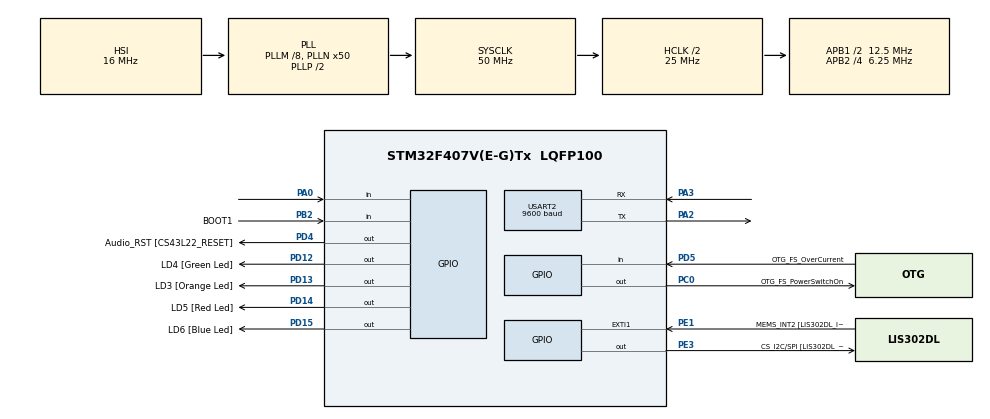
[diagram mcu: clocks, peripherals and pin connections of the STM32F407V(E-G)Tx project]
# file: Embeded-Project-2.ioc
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Mcu.Family=STM32F4
Mcu.Name=STM32F407V(E-G)Tx
Mcu.Package=LQFP100
NVIC.PriorityGroup=NVIC_PRIORITYGROUP_0
NVIC.TIM6_DAC_IRQn=true\:0\:0\:false\:false\:true\:true
NVIC.USART2_IRQn=true\:0\:0\:false\:false\:true\:true
PA0-WKUP.Signal=GPIO_Input
PA10.GPIO_Label=OTG_FS_ID
PA10.GPIO_Mode=GPIO_MODE_AF_PP
PA10.GPIO_PuPd=GPIO_NOPULL
PA10.GPIO_Speed=GPIO_SPEED_FREQ_LOW
PA10.Signal=USB_OTG_FS_ID
PA11.GPIO_Label=OTG_FS_DM
PA11.GPIO_Mode=GPIO_MODE_AF_PP
PA11.GPIO_PuPd=GPIO_NOPULL
PA11.GPIO_Speed=GPIO_SPEED_FREQ_LOW
PA11.Signal=USB_OTG_FS_DM
PA12.GPIO_Label=OTG_FS_DP
PA12.GPIO_Mode=GPIO_MODE_AF_PP
PA12.GPIO_PuPd=GPIO_NOPULL
PA12.GPIO_Speed=GPIO_SPEED_FREQ_LOW
PA12.Signal=USB_OTG_FS_DP
PA13.GPIO_Label=SWDIO
PA13.Signal=SYS_JTMS-SWDIO
PA14.GPIO_Label=SWCLK
PA14.Signal=SYS_JTCK-SWCLK
PA2.Mode=Asynchronous
PA2.Signal=USART2_TX
PA3.Mode=Asynchronous
PA3.Signal=USART2_RX
PA4.GPIO_Label=I2S3_WS [CS43L22_LRCK]
PA4.GPIO_Mode=GPIO_MODE_AF_PP
PA4.GPIO_PuPd=GPIO_NOPULL
PA4.GPIO_Speed=GPIO_SPEED_FREQ_LOW
PA4.Signal=I2S3_WS
PA5.GPIO_Label=SPI1_SCK [LIS302DL_SCL/SPC]
PA5.GPIO_Mode=GPIO_MODE_AF_PP
PA5.GPIO_PuPd=GPIO_NOPULL
PA5.GPIO_Speed=GPIO_SPEED_FREQ_LOW
PA5.Signal=SPI1_SCK
PA6.GPIO_Label=SPI1_MISO [LIS302DL_SDO]
PA6.GPIO_Mode=GPIO_MODE_AF_PP
PA6.GPIO_PuPd=GPIO_NOPULL
PA6.GPIO_Speed=GPIO_SPEED_FREQ_LOW
PA6.Signal=SPI1_MISO
PA7.GPIO_Label=SPI1_MOSI [LIS302DL_SDA/SDI/SDO]
PA7.GPIO_Mode=GPIO_MODE_AF_PP
PA7.GPIO_PuPd=GPIO_NOPULL
PA7.GPIO_Speed=GPIO_SPEED_FREQ_LOW
PA7.Signal=SPI1_MOSI
PA9.GPIO_Label=VBUS_FS
PA9.GPIO_Mode=GPIO_MODE_INPUT
PA9.GPIO_PuPd=GPIO_NOPULL
PA9.Signal=USB_OTG_FS_VBUS
PB10.GPIO_Label=CLK_IN [MP45DT02_CLK]
PB10.GPIO_Mode=GPIO_MODE_AF_PP
PB10.GPIO_PuPd=GPIO_NOPULL
PB10.GPIO_Speed=GPIO_SPEED_FREQ_LOW
PB10.Signal=I2S2_CK
PB2.GPIO_Label=BOOT1
PB2.GPIO_Mode=GPIO_MODE_INPUT
PB2.GPIO_PuPd=GPIO_NOPULL
PB2.Signal=GPIO_Input
PB3.GPIO_Label=SWO
PB3.Signal=SYS_JTDO-SWO
PB6.GPIO_Label=Audio_SCL [CS43L22_SCL]
PB6.GPIO_Mode=GPIO_MODE_AF_OD
PB6.GPIO_PuPd=GPIO_NOPULL
PB6.GPIO_Speed=GPIO_SPEED_FREQ_LOW
PB6.Signal=I2C1_SCL
PB9.GPIO_Label=Audio_SDA [CS43L22_SDA]
PB9.GPIO_Mode=GPIO_MODE_AF_OD
PB9.GPIO_PuPd=GPIO_NOPULL
PB9.GPIO_Speed=GPIO_SPEED_FREQ_LOW
PB9.Signal=I2C1_SDA
PC0.GPIO_Label=OTG_FS_PowerSwitchOn
PC0.GPIO_PuPd=GPIO_NOPULL
PC0.GPIO_Speed=GPIO_SPEED_FREQ_LOW
PC0.PinState=GPIO_PIN_SET
PC0.Signal=GPIO_Output
PC10.GPIO_Label=I2S3_SCK [CS43L22_SCLK]
PC10.GPIO_Mode=GPIO_MODE_AF_PP
PC10.GPIO_PuPd=GPIO_NOPULL
PC10.GPIO_Speed=GPIO_SPEED_FREQ_LOW
PC10.Signal=I2S3_CK
PC12.GPIO_Label=I2S3_SD [CS43L22_SDIN]
PC12.GPIO_Mode=GPIO_MODE_AF_PP
PC12.GPIO_PuPd=GPIO_NOPULL
PC12.GPIO_Speed=GPIO_SPEED_FREQ_LOW
PC12.Signal=I2S3_SD
PC14-OSC32_IN.GPIO_Label=PC14-OSC32_IN
PC14-OSC32_IN.Signal=RCC_OSC32_IN
PC15-OSC32_OUT.GPIO_Label=PC15-OSC32_OUT
PC15-OSC32_OUT.Signal=RCC_OSC32_OUT
PC3.GPIO_Label=PDM_OUT [MP45DT02_DOUT]
PC3.GPIO_Mode=GPIO_MODE_AF_PP
PC3.GPIO_PuPd=GPIO_NOPULL
PC3.GPIO_Speed=GPIO_SPEED_FREQ_LOW
PC3.Signal=I2S2_SD
PC7.GPIO_Label=I2S3_MCK [CS43L22_MCLK]
PC7.GPIO_Mode=GPIO_MODE_AF_PP
PC7.GPIO_PuPd=GPIO_NOPULL
PC7.GPIO_Speed=GPIO_SPEED_FREQ_LOW
PC7.Signal=I2S3_MCK
PD12.GPIO_Label=LD4 [Green Led]
PD12.GPIO_PuPd=GPIO_NOPULL
PD12.GPIO_Speed=GPIO_SPEED_FREQ_LOW
PD12.Signal=GPIO_Output
PD13.GPIO_Label=LD3 [Orange Led]
PD13.GPIO_PuPd=GPIO_NOPULL
PD13.GPIO_Speed=GPIO_SPEED_FREQ_LOW
PD13.Signal=GPIO_Output
PD14.GPIO_Label=LD5 [Red Led]
PD14.GPIO_PuPd=GPIO_NOPULL
PD14.GPIO_Speed=GPIO_SPEED_FREQ_LOW
PD14.Signal=GPIO_Output
PD15.GPIO_Label=LD6 [Blue Led]
PD15.GPIO_PuPd=GPIO_NOPULL
PD15.GPIO_Speed=GPIO_SPEED_FREQ_LOW
PD15.Signal=GPIO_Output
PD4.GPIO_Label=Audio_RST [CS43L22_RESET]
PD4.GPIO_PuPd=GPIO_NOPULL
PD4.GPIO_Speed=GPIO_SPEED_FREQ_LOW
PD4.Signal=GPIO_Output
PD5.GPIO_Label=OTG_FS_OverCurrent
PD5.GPIO_Mode=GPIO_MODE_INPUT
PD5.GPIO_PuPd=GPIO_NOPULL
PD5.Signal=GPIO_Input
PE1.GPIO_Label=MEMS_INT2 [LIS302DL_INT2]
PE1.GPIO_ModeDefaultEXTI=GPIO_MODE_EVT_RISING
PE1.GPIO_PuPd=GPIO_NOPULL
PE1.Signal=GPXTI1
PE3.GPIO_Label=CS_I2C/SPI [LIS302DL_CS_I2C/SPI]
PE3.GPIO_PuPd=GPIO_NOPULL
PE3.GPIO_Speed=GPIO_SPEED_FREQ_LOW
PE3.Signal=GPIO_Output
PH0-OSC_IN.GPIO_Label=PH0-OSC_IN
PH0-OSC_IN.Signal=RCC_OSC_IN
PH1-OSC_OUT.GPIO_Label=PH1-OSC_OUT
PH1-OSC_OUT.Signal=RCC_OSC_OUT
ProjectManager.HeapSize=0x200
ProjectManager.StackSize=0x400
ProjectManager.TargetToolchain=SW4STM32
RCC.48MHZClocksFreq_Value=14285714.285714285
RCC.AHBCLKDivider=RCC_SYSCLK_DIV2
RCC.AHBFreq_Value=25000000
RCC.APB1CLKDivider=RCC_HCLK_DIV2
RCC.APB1Freq_Value=12500000
RCC.APB1TimFreq_Value=25000000
RCC.APB2CLKDivider=RCC_HCLK_DIV4
RCC.APB2Freq_Value=6250000
RCC.APB2TimFreq_Value=12500000
RCC.CortexFreq_Value=25000000
RCC.HCLKFreq_Value=25000000
RCC.HSE_VALUE=8000000
RCC.HSI_VALUE=16000000
RCC.LSE_VALUE=32768
RCC.PLLM=8
RCC.PLLN=50
RCC.PLLQ=7
RCC.SYSCLKFreq_VALUE=50000000
RCC.SYSCLKSource=RCC_SYSCLKSOURCE_PLLCLK
RCC.VCOOutputFreq_Value=100000000
TIM6.Period=24999
TIM6.Prescaler=999
USART2.BaudRate=9600
USART2.VirtualMode=VM_ASYNC
VP_TIM6_VS_ClockSourceINT.Mode=Enable_Timer
board=STM32F4DISCOVERY

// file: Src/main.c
/**
  ******************************************************************************
  * @file           : main.c
  * @brief          : Main program body
  ******************************************************************************
  ** This notice applies to any and all portions of this file
  * that are not between comment pairs USER CODE BEGIN and
  * USER CODE END. Other portions of this file, whether
  * inserted by the user or by software development tools
  * are owned by their respective copyright owners.
  *
  * COPYRIGHT(c) 2018 STMicroelectronics
  *
  * Redistribution and use in source and binary forms, with or without modification,
  * are permitted provided that the following conditions are met:
  *   1. Redistributions of source code must retain the above copyright notice,
  *      this list of conditions and the following disclaimer.
  *   2. Redistributions in binary form must reproduce the above copyright notice,
  *      this list of conditions and the following disclaimer in the documentation
  *      and/or other materials provided with the distribution.
  *   3. Neither the name of STMicroelectronics nor the names of its contributors
  *      may be used to endorse or promote products derived from this software
  *      without specific prior written permission.
  *
  * THIS SOFTWARE IS PROVIDED BY THE COPYRIGHT HOLDERS AND CONTRIBUTORS "AS IS"
  * AND ANY EXPRESS OR IMPLIED WARRANTIES, INCLUDING, BUT NOT LIMITED TO, THE
  * IMPLIED WARRANTIES OF MERCHANTABILITY AND FITNESS FOR A PARTICULAR PURPOSE ARE
  * DISCLAIMED. IN NO EVENT SHALL THE COPYRIGHT HOLDER OR CONTRIBUTORS BE LIABLE
  * FOR ANY DIRECT, INDIRECT, INCIDENTAL, SPECIAL, EXEMPLARY, OR CONSEQUENTIAL
  * DAMAGES (INCLUDING, BUT NOT LIMITED TO, PROCUREMENT OF SUBSTITUTE GOODS OR
  * SERVICES; LOSS OF USE, DATA, OR PROFITS; OR BUSINESS INTERRUPTION) HOWEVER
  * CAUSED AND ON ANY THEORY OF LIABILITY, WHETHER IN CONTRACT, STRICT LIABILITY,
  * OR TORT (INCLUDING NEGLIGENCE OR OTHERWISE) ARISING IN ANY WAY OUT OF THE USE
  * OF THIS SOFTWARE, EVEN IF ADVISED OF THE POSSIBILITY OF SUCH DAMAGE.
  *
  ******************************************************************************
  */
#include "main.h"
#include "stm32f4xx_hal.h"

/* USER CODE BEGIN Includes */
#include<string.h>
/* USER CODE END Includes */

TIM_HandleTypeDef htim6;

UART_HandleTypeDef huart2;

/* USER CODE BEGIN PV */
/* Private variables ---------------------------------------------------------*/

/* USER CODE END PV */

void SystemClock_Config(void);
static void MX_GPIO_Init(void);
static void MX_TIM6_Init(void);
static void MX_USART2_UART_Init(void);

/* USER CODE BEGIN PFP */
/* Private function prototypes -----------------------------------------------*/

/* USER CODE END PFP */

/* USER CODE BEGIN 0 */
char uData[1] = {};
	char inputBuffer[100] = {};
	uint8_t iPointer = 0;
	char* uBuffer;
	uint8_t airCon = 0;
	uint8_t airPure = 0;

void HAL_UART_RxCpltCallback(UART_HandleTypeDef *huart) {
inputBuffer[iPointer] = uData[0];
		iPointer++;
		if (uData[0] == ';') {
			inputBuffer[iPointer] = '\0';
			iPointer = 0;
			uBuffer = strtok(inputBuffer, "\t");
		airCon = *uBuffer == '1'?1:0;
		uBuffer = strtok(NULL, "\t");
		airPure = *uBuffer == '1'?1:0;
		if (airCon == 1) {
		HAL_GPIO_WritePin(GPIOD, GPIO_PIN_12, GPIO_PIN_SET);
		} else {
			HAL_GPIO_WritePin(GPIOD, GPIO_PIN_12, GPIO_PIN_RESET);
		}
		if (airPure == 1) {
				HAL_GPIO_WritePin(GPIOD, GPIO_PIN_13, GPIO_PIN_SET);
				} else {
					HAL_GPIO_WritePin(GPIOD, GPIO_PIN_13, GPIO_PIN_RESET);
						}
		}
HAL_UART_Receive_IT(&huart2, (uint8_t*)uData, 1);
}

/* USER CODE END 0 */

int main(void)
{

  /* MCU Configuration----------------------------------------------------------*/

  /* Reset of all peripherals, Initializes the Flash interface and the Systick. */
  HAL_Init();

  /* Configure the system clock */
  SystemClock_Config();

  /* Initialize all configured peripherals */
  MX_GPIO_Init();
  MX_TIM6_Init();
  MX_USART2_UART_Init();
  /* USER CODE BEGIN 2 */
  HAL_TIM_Base_Start_IT(&htim6);
  HAL_UART_Receive_IT(&huart2, (uint8_t*)uData, 1);
  /* USER CODE END 2 */

  /* Infinite loop */
  /* USER CODE BEGIN WHILE */
  while (1)
  {
	  if (HAL_GPIO_ReadPin(GPIOA, GPIO_PIN_0)) {
		  HAL_GPIO_TogglePin(GPIOD, 1<<12);
		  while (HAL_GPIO_ReadPin(GPIOA, GPIO_PIN_0)) {
			  HAL_Delay(75);
		  }
	  }

  /* USER CODE END WHILE */

  }

}

void SystemClock_Config(void)
{

  RCC_OscInitTypeDef RCC_OscInitStruct;
  RCC_ClkInitTypeDef RCC_ClkInitStruct;

    /**Configure the main internal regulator output voltage
    */
  __HAL_RCC_PWR_CLK_ENABLE();

  __HAL_PWR_VOLTAGESCALING_CONFIG(PWR_REGULATOR_VOLTAGE_SCALE1);

    /**Initializes the CPU, AHB and APB busses clocks
    */
  RCC_OscInitStruct.OscillatorType = RCC_OSCILLATORTYPE_HSI;
  RCC_OscInitStruct.HSIState = RCC_HSI_ON;
  RCC_OscInitStruct.HSICalibrationValue = 16;
  RCC_OscInitStruct.PLL.PLLState = RCC_PLL_ON;
  RCC_OscInitStruct.PLL.PLLSource = RCC_PLLSOURCE_HSI;
  RCC_OscInitStruct.PLL.PLLM = 8;
  RCC_OscInitStruct.PLL.PLLN = 50;
  RCC_OscInitStruct.PLL.PLLP = RCC_PLLP_DIV2;
  RCC_OscInitStruct.PLL.PLLQ = 7;
  if (HAL_RCC_OscConfig(&RCC_OscInitStruct) != HAL_OK)
  {
    _Error_Handler(__FILE__, __LINE__);
  }

    /**Initializes the CPU, AHB and APB busses clocks
    */
  RCC_ClkInitStruct.ClockType = RCC_CLOCKTYPE_HCLK|RCC_CLOCKTYPE_SYSCLK
                              |RCC_CLOCKTYPE_PCLK1|RCC_CLOCKTYPE_PCLK2;
  RCC_ClkInitStruct.SYSCLKSource = RCC_SYSCLKSOURCE_PLLCLK;
  RCC_ClkInitStruct.AHBCLKDivider = RCC_SYSCLK_DIV2;
  RCC_ClkInitStruct.APB1CLKDivider = RCC_HCLK_DIV2;
  RCC_ClkInitStruct.APB2CLKDivider = RCC_HCLK_DIV4;

  if (HAL_RCC_ClockConfig(&RCC_ClkInitStruct, FLASH_LATENCY_0) != HAL_OK)
  {
    _Error_Handler(__FILE__, __LINE__);
  }

    /**Configure the Systick interrupt time
    */
  HAL_SYSTICK_Config(HAL_RCC_GetHCLKFreq()/1000);

    /**Configure the Systick
    */
  HAL_SYSTICK_CLKSourceConfig(SYSTICK_CLKSOURCE_HCLK);

  /* SysTick_IRQn interrupt configuration */
  HAL_NVIC_SetPriority(SysTick_IRQn, 0, 0);
}

/* TIM6 init function */
static void MX_TIM6_Init(void)
{

  TIM_MasterConfigTypeDef sMasterConfig;

  htim6.Instance = TIM6;
  htim6.Init.Prescaler = 999;
  htim6.Init.CounterMode = TIM_COUNTERMODE_UP;
  htim6.Init.Period = 24999;
  if (HAL_TIM_Base_Init(&htim6) != HAL_OK)
  {
    _Error_Handler(__FILE__, __LINE__);
  }

  sMasterConfig.MasterOutputTrigger = TIM_TRGO_RESET;
  sMasterConfig.MasterSlaveMode = TIM_MASTERSLAVEMODE_DISABLE;
  if (HAL_TIMEx_MasterConfigSynchronization(&htim6, &sMasterConfig) != HAL_OK)
  {
    _Error_Handler(__FILE__, __LINE__);
  }

}

/* USART2 init function */
static void MX_USART2_UART_Init(void)
{

  huart2.Instance = USART2;
  huart2.Init.BaudRate = 9600;
  huart2.Init.WordLength = UART_WORDLENGTH_8B;
  huart2.Init.StopBits = UART_STOPBITS_1;
  huart2.Init.Parity = UART_PARITY_NONE;
  huart2.Init.Mode = UART_MODE_TX_RX;
  huart2.Init.HwFlowCtl = UART_HWCONTROL_NONE;
  huart2.Init.OverSampling = UART_OVERSAMPLING_16;
  if (HAL_UART_Init(&huart2) != HAL_OK)
  {
    _Error_Handler(__FILE__, __LINE__);
  }

}

/** Configure pins as
        * Analog
        * Input
        * Output
        * EVENT_OUT
        * EXTI
     PC3   ------> I2S2_SD
     PA4   ------> I2S3_WS
     PA5   ------> SPI1_SCK
     PA6   ------> SPI1_MISO
     PA7   ------> SPI1_MOSI
     PB10   ------> I2S2_CK
     PC7   ------> I2S3_MCK
     PA9   ------> USB_OTG_FS_VBUS
     PA10   ------> USB_OTG_FS_ID
     PA11   ------> USB_OTG_FS_DM
     PA12   ------> USB_OTG_FS_DP
     PC10   ------> I2S3_CK
     PC12   ------> I2S3_SD
     PB6   ------> I2C1_SCL
     PB9   ------> I2C1_SDA
*/
static void MX_GPIO_Init(void)
{

  GPIO_InitTypeDef GPIO_InitStruct;

  /* GPIO Ports Clock Enable */
  __HAL_RCC_GPIOE_CLK_ENABLE();
  __HAL_RCC_GPIOC_CLK_ENABLE();
  __HAL_RCC_GPIOH_CLK_ENABLE();
  __HAL_RCC_GPIOA_CLK_ENABLE();
  __HAL_RCC_GPIOB_CLK_ENABLE();
  __HAL_RCC_GPIOD_CLK_ENABLE();

  /*Configure GPIO pin Output Level */
  HAL_GPIO_WritePin(CS_I2C_SPI_GPIO_Port, CS_I2C_SPI_Pin, GPIO_PIN_RESET);

  /*Configure GPIO pin Output Level */
  HAL_GPIO_WritePin(OTG_FS_PowerSwitchOn_GPIO_Port, OTG_FS_PowerSwitchOn_Pin, GPIO_PIN_SET);

  /*Configure GPIO pin Output Level */
  HAL_GPIO_WritePin(GPIOD, LD4_Pin|LD3_Pin|LD5_Pin|LD6_Pin
                          |Audio_RST_Pin, GPIO_PIN_RESET);

  /*Configure GPIO pin : CS_I2C_SPI_Pin */
  GPIO_InitStruct.Pin = CS_I2C_SPI_Pin;
  GPIO_InitStruct.Mode = GPIO_MODE_OUTPUT_PP;
  GPIO_InitStruct.Pull = GPIO_NOPULL;
  GPIO_InitStruct.Speed = GPIO_SPEED_FREQ_LOW;
  HAL_GPIO_Init(CS_I2C_SPI_GPIO_Port, &GPIO_InitStruct);

  /*Configure GPIO pin : OTG_FS_PowerSwitchOn_Pin */
  GPIO_InitStruct.Pin = OTG_FS_PowerSwitchOn_Pin;
  GPIO_InitStruct.Mode = GPIO_MODE_OUTPUT_PP;
  GPIO_InitStruct.Pull = GPIO_NOPULL;
  GPIO_InitStruct.Speed = GPIO_SPEED_FREQ_LOW;
  HAL_GPIO_Init(OTG_FS_PowerSwitchOn_GPIO_Port, &GPIO_InitStruct);

  /*Configure GPIO pin : PDM_OUT_Pin */
  GPIO_InitStruct.Pin = PDM_OUT_Pin;
  GPIO_InitStruct.Mode = GPIO_MODE_AF_PP;
  GPIO_InitStruct.Pull = GPIO_NOPULL;
  GPIO_InitStruct.Speed = GPIO_SPEED_FREQ_LOW;
  GPIO_InitStruct.Alternate = GPIO_AF5_SPI2;
  HAL_GPIO_Init(PDM_OUT_GPIO_Port, &GPIO_InitStruct);

  /*Configure GPIO pin : PA0 */
  GPIO_InitStruct.Pin = GPIO_PIN_0;
  GPIO_InitStruct.Mode = GPIO_MODE_INPUT;
  GPIO_InitStruct.Pull = GPIO_NOPULL;
  HAL_GPIO_Init(GPIOA, &GPIO_InitStruct);

  /*Configure GPIO pin : I2S3_WS_Pin */
  GPIO_InitStruct.Pin = I2S3_WS_Pin;
  GPIO_InitStruct.Mode = GPIO_MODE_AF_PP;
  GPIO_InitStruct.Pull = GPIO_NOPULL;
  GPIO_InitStruct.Speed = GPIO_SPEED_FREQ_LOW;
  GPIO_InitStruct.Alternate = GPIO_AF6_SPI3;
  HAL_GPIO_Init(I2S3_WS_GPIO_Port, &GPIO_InitStruct);

  /*Configure GPIO pins : SPI1_SCK_Pin SPI1_MISO_Pin SPI1_MOSI_Pin */
  GPIO_InitStruct.Pin = SPI1_SCK_Pin|SPI1_MISO_Pin|SPI1_MOSI_Pin;
  GPIO_InitStruct.Mode = GPIO_MODE_AF_PP;
  GPIO_InitStruct.Pull = GPIO_NOPULL;
  GPIO_InitStruct.Speed = GPIO_SPEED_FREQ_LOW;
  GPIO_InitStruct.Alternate = GPIO_AF5_SPI1;
  HAL_GPIO_Init(GPIOA, &GPIO_InitStruct);

  /*Configure GPIO pin : BOOT1_Pin */
  GPIO_InitStruct.Pin = BOOT1_Pin;
  GPIO_InitStruct.Mode = GPIO_MODE_INPUT;
  GPIO_InitStruct.Pull = GPIO_NOPULL;
  HAL_GPIO_Init(BOOT1_GPIO_Port, &GPIO_InitStruct);

  /*Configure GPIO pin : CLK_IN_Pin */
  GPIO_InitStruct.Pin = CLK_IN_Pin;
  GPIO_InitStruct.Mode = GPIO_MODE_AF_PP;
  GPIO_InitStruct.Pull = GPIO_NOPULL;
  GPIO_InitStruct.Speed = GPIO_SPEED_FREQ_LOW;
  GPIO_InitStruct.Alternate = GPIO_AF5_SPI2;
  HAL_GPIO_Init(CLK_IN_GPIO_Port, &GPIO_InitStruct);

  /*Configure GPIO pins : LD4_Pin LD3_Pin LD5_Pin LD6_Pin
                           Audio_RST_Pin */
  GPIO_InitStruct.Pin = LD4_Pin|LD3_Pin|LD5_Pin|LD6_Pin
                          |Audio_RST_Pin;
  GPIO_InitStruct.Mode = GPIO_MODE_OUTPUT_PP;
  GPIO_InitStruct.Pull = GPIO_NOPULL;
  GPIO_InitStruct.Speed = GPIO_SPEED_FREQ_LOW;
  HAL_GPIO_Init(GPIOD, &GPIO_InitStruct);

  /*Configure GPIO pins : I2S3_MCK_Pin I2S3_SCK_Pin I2S3_SD_Pin */
  GPIO_InitStruct.Pin = I2S3_MCK_Pin|I2S3_SCK_Pin|I2S3_SD_Pin;
  GPIO_InitStruct.Mode = GPIO_MODE_AF_PP;
  GPIO_InitStruct.Pull = GPIO_NOPULL;
  GPIO_InitStruct.Speed = GPIO_SPEED_FREQ_LOW;
  GPIO_InitStruct.Alternate = GPIO_AF6_SPI3;
  HAL_GPIO_Init(GPIOC, &GPIO_InitStruct);

  /*Configure GPIO pin : VBUS_FS_Pin */
  GPIO_InitStruct.Pin = VBUS_FS_Pin;
  GPIO_InitStruct.Mode = GPIO_MODE_INPUT;
  GPIO_InitStruct.Pull = GPIO_NOPULL;
  HAL_GPIO_Init(VBUS_FS_GPIO_Port, &GPIO_InitStruct);

  /*Configure GPIO pins : OTG_FS_ID_Pin OTG_FS_DM_Pin OTG_FS_DP_Pin */
  GPIO_InitStruct.Pin = OTG_FS_ID_Pin|OTG_FS_DM_Pin|OTG_FS_DP_Pin;
  GPIO_InitStruct.Mode = GPIO_MODE_AF_PP;
  GPIO_InitStruct.Pull = GPIO_NOPULL;
  GPIO_InitStruct.Speed = GPIO_SPEED_FREQ_LOW;
  GPIO_InitStruct.Alternate = GPIO_AF10_OTG_FS;
  HAL_GPIO_Init(GPIOA, &GPIO_InitStruct);

  /*Configure GPIO pin : OTG_FS_OverCurrent_Pin */
  GPIO_InitStruct.Pin = OTG_FS_OverCurrent_Pin;
  GPIO_InitStruct.Mode = GPIO_MODE_INPUT;
  GPIO_InitStruct.Pull = GPIO_NOPULL;
  HAL_GPIO_Init(OTG_FS_OverCurrent_GPIO_Port, &GPIO_InitStruct);

  /*Configure GPIO pins : Audio_SCL_Pin Audio_SDA_Pin */
  GPIO_InitStruct.Pin = Audio_SCL_Pin|Audio_SDA_Pin;
  GPIO_InitStruct.Mode = GPIO_MODE_AF_OD;
  GPIO_InitStruct.Pull = GPIO_PULLUP;
  GPIO_InitStruct.Speed = GPIO_SPEED_FREQ_LOW;
  GPIO_InitStruct.Alternate = GPIO_AF4_I2C1;
  HAL_GPIO_Init(GPIOB, &GPIO_InitStruct);

  /*Configure GPIO pin : MEMS_INT2_Pin */
  GPIO_InitStruct.Pin = MEMS_INT2_Pin;
  GPIO_InitStruct.Mode = GPIO_MODE_EVT_RISING;
  GPIO_InitStruct.Pull = GPIO_NOPULL;
  HAL_GPIO_Init(MEMS_INT2_GPIO_Port, &GPIO_InitStruct);

}

void _Error_Handler(char *file, int line)
{
  while(1)
  {
  }
}

/************************ (C) COPYRIGHT STMicroelectronics *****END OF FILE****/
